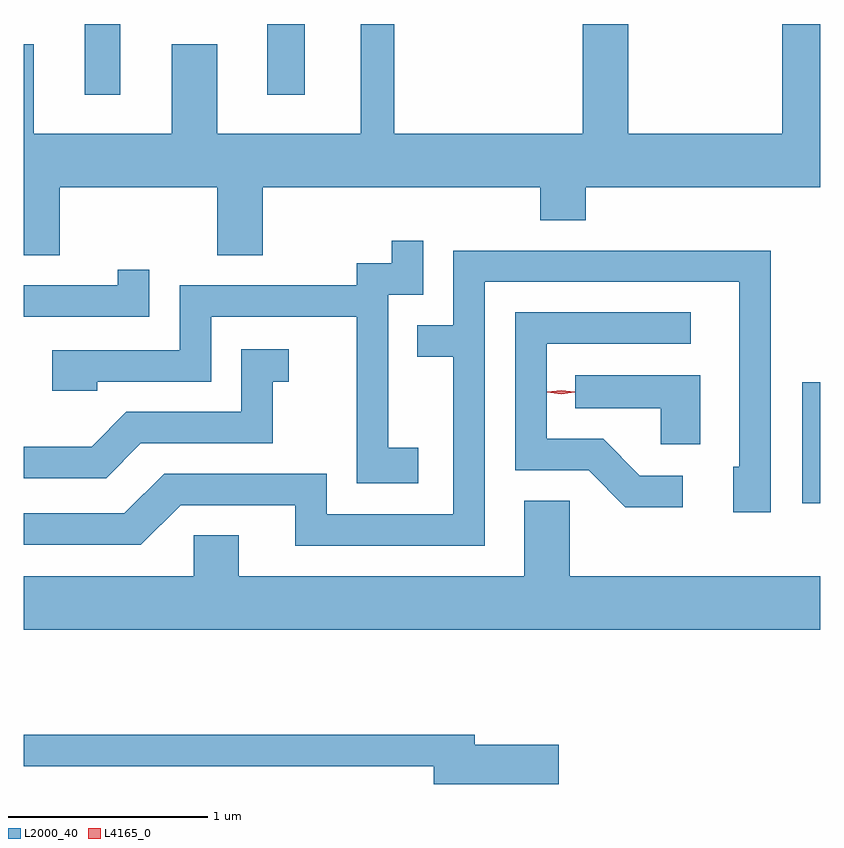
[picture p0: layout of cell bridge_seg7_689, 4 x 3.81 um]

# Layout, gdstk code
import gdstk
lib = gdstk.Library(unit=1e-6, precision=1e-09)
def R(c, l, rs):  # rectangles x0, y0, x1, y1
    for r in rs: c.add(gdstk.rectangle(r[:2], r[2:], *l))
def P(c, l, *ps):  # polygons
    for p in ps: c.add(gdstk.Polygon(p, *l))
L2000_40 = (2000, 40)
L4165_0 = (4165, 0)

bridge_seg7_689 = lib.new_cell('bridge_seg7_689')
R(bridge_seg7_689, L2000_40, [(845.006,1694.971,845.098,1695.578), (841.406,1697.021,841.584,1697.376), (842.321,1697.021,842.509,1697.376)])
P(bridge_seg7_689, L2000_40, [(841.279,1696.556),(842.071,1696.556),(842.071,1696.216),(842.299,1696.216),(842.299,1696.556),(843.691,1696.556),(843.691,1696.391),(843.919,1696.391),(843.919,1696.556),(845.098,1696.556),(845.098,1697.376),(844.906,1697.376),(844.906,1696.824),(844.134,1696.824),(844.134,1697.376),(843.906,1697.376),(843.906,1696.824),(842.959,1696.824),(842.959,1697.376),(842.791,1697.376),(842.791,1696.824),(842.069,1696.824),(842.069,1697.274),(841.841,1697.274),(841.841,1696.824),(841.149,1696.824),(841.149,1697.274),(841.098,1697.274),(841.098,1696.216),(841.279,1696.216)],
  [(843.079,1695.249),(842.929,1695.249),(842.929,1696.016),(843.104,1696.016),(843.104,1696.288),(842.946,1696.288),(842.946,1696.174),(842.771,1696.174),(842.771,1696.064),(841.881,1696.064),(841.881,1695.739),(841.241,1695.739),(841.241,1695.536),(841.469,1695.536),(841.469,1695.581),(842.039,1695.581),(842.039,1695.906),(842.771,1695.906),(842.771,1695.071),(843.079,1695.071)],
  [(843.414,1696.081),(844.691,1696.081),(844.691,1695.154),(844.661,1695.154),(844.661,1694.926),(844.849,1694.926),(844.849,1696.239),(843.256,1696.239),(843.256,1695.864),(843.073,1695.864),(843.073,1695.706),(843.256,1695.706),(843.256,1694.914),(842.619,1694.914),(842.619,1695.119),(841.804,1695.119),(841.604,1694.919),(841.098,1694.919),(841.098,1694.761),(841.687,1694.761),(841.887,1694.961),(842.461,1694.961),(842.461,1694.756),(843.414,1694.756)],
  [(841.729,1696.143),(841.571,1696.143),(841.571,1696.064),(841.098,1696.064),(841.098,1695.906),(841.729,1695.906)],
  [(844.408,1695.109),(844.192,1695.109),(844.007,1695.294),(843.724,1695.294),(843.724,1695.771),(844.448,1695.771),(844.448,1695.929),(843.566,1695.929),(843.566,1695.136),(843.934,1695.136),(844.119,1694.951),(844.408,1694.951)],
  [(841.687,1695.271),(842.349,1695.271),(842.349,1695.581),(842.428,1695.581),(842.428,1695.744),(842.191,1695.744),(842.191,1695.429),(841.614,1695.429),(841.439,1695.254),(841.098,1695.254),(841.098,1695.096),(841.512,1695.096)],
  [(844.494,1695.614),(843.868,1695.614),(843.868,1695.446),(844.296,1695.446),(844.296,1695.266),(844.494,1695.266)],
  [(845.098,1694.604),(843.839,1694.604),(843.839,1694.984),(843.611,1694.984),(843.611,1694.604),(842.179,1694.604),(842.179,1694.809),(841.951,1694.809),(841.951,1694.604),(841.098,1694.604),(841.098,1694.336),(845.098,1694.336)],
  [(843.784,1693.759),(843.364,1693.759),(843.364,1693.809),(841.098,1693.809),(841.098,1693.651),(843.156,1693.651),(843.156,1693.561),(843.784,1693.561)])
P(bridge_seg7_689, L4165_0, [(843.796,1695.518),(843.727,1695.528),(843.727,1695.528),(843.727,1695.529),(843.796,1695.538),(843.865,1695.529),(843.866,1695.528),(843.865,1695.528)],
  [(843.796,1695.518),(843.73,1695.528),(843.729,1695.528),(843.73,1695.529),(843.796,1695.538),(843.862,1695.529),(843.863,1695.528),(843.862,1695.528)])

lib.write_gds('bridge_seg7_689.gds')
